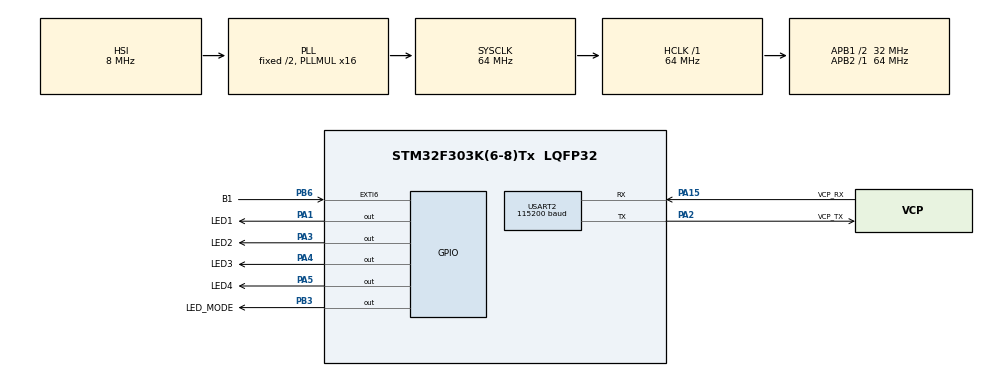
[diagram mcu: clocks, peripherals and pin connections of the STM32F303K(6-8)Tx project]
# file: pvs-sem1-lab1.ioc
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FREERTOS.Tasks01=blinkLEDsTask,0,128,StartBlinkLEDsTask,Default,NULL,Dynamic,NULL,NULL;uartCommandTask,0,128,StartUARTCommandTask,Default,NULL,Dynamic,NULL,NULL
Mcu.Family=STM32F3
Mcu.Name=STM32F303K(6-8)Tx
Mcu.Package=LQFP32
NVIC.EXTI9_5_IRQn=true\:5\:0\:false\:false\:true\:true\:true\:true\:true
NVIC.PriorityGroup=NVIC_PRIORITYGROUP_4
NVIC.TIM1_TRG_COM_TIM17_IRQn=true\:15\:0\:false\:false\:true\:false\:false\:true\:true
NVIC.TimeBase=TIM1_TRG_COM_TIM17_IRQn
NVIC.TimeBaseIP=TIM17
NVIC.USART2_IRQn=true\:5\:0\:false\:false\:true\:true\:true\:true\:true
PA1.GPIO_Label=LED1
PA1.Signal=GPIO_Output
PA13.GPIO_Label=SWDIO
PA13.Mode=Serial_Wire
PA13.Signal=SYS_JTMS-SWDIO
PA14.GPIO_Label=SWCLK
PA14.Mode=Serial_Wire
PA14.Signal=SYS_JTCK-SWCLK
PA15.GPIO_Label=VCP_RX
PA15.Mode=Asynchronous
PA15.Signal=USART2_RX
PA2.GPIO_Label=VCP_TX
PA2.Mode=Asynchronous
PA2.Signal=USART2_TX
PA3.GPIO_Label=LED2
PA3.Signal=GPIO_Output
PA4.GPIO_Label=LED3
PA4.Signal=GPIO_Output
PA5.GPIO_Label=LED4
PA5.Signal=GPIO_Output
PB3.GPIO_Label=LED_MODE
PB3.Signal=GPIO_Output
PB6.GPIO_Label=B1
PB6.Signal=GPXTI6
PF0\ /\ OSC_IN.GPIO_Label=MCO
PF0\ /\ OSC_IN.Mode=HSE-External-Clock-Source
PF0\ /\ OSC_IN.Signal=RCC_OSC_IN
ProjectManager.HeapSize=0x200
ProjectManager.StackSize=0x400
ProjectManager.TargetToolchain=STM32CubeIDE
RCC.AHBFreq_Value=64000000
RCC.APB1CLKDivider=RCC_HCLK_DIV2
RCC.APB1Freq_Value=32000000
RCC.APB1TimFreq_Value=64000000
RCC.APB2Freq_Value=64000000
RCC.APB2TimFreq_Value=64000000
RCC.CortexFreq_Value=64000000
RCC.HCLKFreq_Value=64000000
RCC.HSE_VALUE=8000000
RCC.HSI_VALUE=8000000
RCC.PLLMUL=RCC_PLL_MUL16
RCC.SYSCLKFreq_VALUE=64000000
RCC.SYSCLKSourceVirtual=RCC_SYSCLKSOURCE_PLLCLK
USART2.BaudRate=115200
USART2.VirtualMode-Asynchronous=VM_ASYNC
VP_FREERTOS_VS_CMSIS_V1.Mode=CMSIS_V1
VP_SYS_VS_tim17.Mode=TIM17
board=NUCLEO-F303K8

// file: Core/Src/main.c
/* USER CODE BEGIN Header */
/**
 ******************************************************************************
 * @file           : main.c
 * @brief          : Main program body
 ******************************************************************************
 * @attention
 *
 * Copyright (c) 2024 STMicroelectronics.
 * All rights reserved.
 *
 * This software is licensed under terms that can be found in the LICENSE file
 * in the root directory of this software component.
 * If no LICENSE file comes with this software, it is provided AS-IS.
 *
 ******************************************************************************
 */
/* USER CODE END Header */
#include "main.h"
#include "cmsis_os.h"

UART_HandleTypeDef huart2;

osThreadId blinkLEDsTaskHandle;
osThreadId uartCommandTaskHandle;
/* USER CODE BEGIN PV */
#define NUM_LEDS 4                		// Number of LEDs
#define FULL_PERIOD 1000          		// Full period in milliseconds (1 second)
#define TIMER_PERIOD 250          		// Timer period (250 ms)
#define HALF_PERIOD (FULL_PERIOD / 2) 	// Half cycle (500 ms)

#define MIN_FREQUENCY 0.1				// Min frequency (0.1 Hz)
#define MAX_FREQUENCY 9.9         		// Max frequency (9.9 Hz)
#define RX_BUFFER_SIZE 16         		// UART receive buffer size

uint8_t led_states[NUM_LEDS];			// Array for storing LED states
uint16_t led_counter = 0;     			// LED cycling counter
uint16_t phase_shift = HALF_PERIOD;		// Initial phase shift (180 degrees)

float frequency = 1.0;      			// Starting frequency (1 Hz)

uint8_t rx_buffer[RX_BUFFER_SIZE];
uint8_t command_received = 0;
uint8_t rx_index = 0;
volatile uint8_t btn_pressed_flag = 0;
/* USER CODE END PV */

void SystemClock_Config(void);
static void MX_GPIO_Init(void);
static void MX_USART2_UART_Init(void);
void StartBlinkLEDsTask(void const * argument);
void StartUARTCommandTask(void const * argument);

/* USER CODE BEGIN 0 */
void commandProcessing(void) {
	char command[RX_BUFFER_SIZE];
	strncpy(command, rx_buffer, RX_BUFFER_SIZE);
	command[RX_BUFFER_SIZE - 1] = 0;

	for (uint8_t i = 0; i < strlen(command); i++) {
		command[i] = tolower(command[i]);
	}

	if (rx_index != command_received) {
		double new_frequency;
		if (sscanf(command, "f=%lf", &new_frequency) == 1) {
			if (new_frequency >= MIN_FREQUENCY && new_frequency <= MAX_FREQUENCY) {
				frequency = new_frequency;
				char message[32];
				sprintf(message, "Frequency changed to %.1f Hz\r\n", frequency);
				HAL_UART_Transmit(&huart2, (uint8_t*) message, strlen(message),
						HAL_MAX_DELAY);
			} else {
				char error_message[] =
						"Error: Frequency must be in the range from 0.1 to 9.9 Hz\r\n";
				HAL_UART_Transmit(&huart2, (uint8_t*) error_message,
						strlen(error_message), HAL_MAX_DELAY);
			}
		} else {
			char error_message[] =
					"Error: Invalid command format. Use the format 'F=x.x'\r\n";
			HAL_UART_Transmit(&huart2, (uint8_t*) error_message,
					strlen(error_message), HAL_MAX_DELAY);
		}
	}

	rx_index = 0;
	command_received = 0;
}

void HAL_UART_RxCpltCallback(UART_HandleTypeDef *huart) {
	if (huart->Instance == USART2) {
		rx_buffer[rx_index++] = huart->Instance->RDR;

		if (rx_buffer[rx_index - 1] == '\n'
				|| rx_buffer[rx_index - 1] == '\r') {
			rx_buffer[rx_index - 1] = 0;
			command_received = 1;
			commandProcessing();
		} else if (rx_index == RX_BUFFER_SIZE - 1) {
			rx_index = 0;
		}

		HAL_UART_Receive_IT(&huart2, (uint8_t*) &rx_buffer[rx_index], 1);
	}
}

void HAL_GPIO_EXTI_Callback(uint16_t GPIO_Pin) {
	if (GPIO_Pin == B1_Pin) {
		HAL_GPIO_TogglePin(LED_MODE_GPIO_Port, LED_MODE_Pin);
		phase_shift =
				(phase_shift == HALF_PERIOD) ? HALF_PERIOD / 2 : HALF_PERIOD;
	}
}
/* USER CODE END 0 */

int main(void)
{

  /* MCU Configuration--------------------------------------------------------*/

  /* Reset of all peripherals, Initializes the Flash interface and the Systick. */
  HAL_Init();

  /* Configure the system clock */
  SystemClock_Config();

  /* Initialize all configured peripherals */
  MX_GPIO_Init();
  MX_USART2_UART_Init();

  /* Create the thread(s) */
  /* definition and creation of blinkLEDsTask */
  osThreadDef(blinkLEDsTask, StartBlinkLEDsTask, osPriorityNormal, 0, 128);
  blinkLEDsTaskHandle = osThreadCreate(osThread(blinkLEDsTask), NULL);

  /* definition and creation of uartCommandTask */
  osThreadDef(uartCommandTask, StartUARTCommandTask, osPriorityNormal, 0, 128);
  uartCommandTaskHandle = osThreadCreate(osThread(uartCommandTask), NULL);

  /* Start scheduler */
  osKernelStart();

  /* We should never get here as control is now taken by the scheduler */

  /* Infinite loop */
	while (1) {

	}
}

void SystemClock_Config(void)
{
  RCC_OscInitTypeDef RCC_OscInitStruct = {0};
  RCC_ClkInitTypeDef RCC_ClkInitStruct = {0};

  /** Initializes the RCC Oscillators according to the specified parameters
  * in the RCC_OscInitTypeDef structure.
  */
  RCC_OscInitStruct.OscillatorType = RCC_OSCILLATORTYPE_HSI;
  RCC_OscInitStruct.HSIState = RCC_HSI_ON;
  RCC_OscInitStruct.HSICalibrationValue = RCC_HSICALIBRATION_DEFAULT;
  RCC_OscInitStruct.PLL.PLLState = RCC_PLL_ON;
  RCC_OscInitStruct.PLL.PLLSource = RCC_PLLSOURCE_HSI;
  RCC_OscInitStruct.PLL.PLLMUL = RCC_PLL_MUL16;
  if (HAL_RCC_OscConfig(&RCC_OscInitStruct) != HAL_OK)
  {
    Error_Handler();
  }

  /** Initializes the CPU, AHB and APB buses clocks
  */
  RCC_ClkInitStruct.ClockType = RCC_CLOCKTYPE_HCLK|RCC_CLOCKTYPE_SYSCLK
                              |RCC_CLOCKTYPE_PCLK1|RCC_CLOCKTYPE_PCLK2;
  RCC_ClkInitStruct.SYSCLKSource = RCC_SYSCLKSOURCE_PLLCLK;
  RCC_ClkInitStruct.AHBCLKDivider = RCC_SYSCLK_DIV1;
  RCC_ClkInitStruct.APB1CLKDivider = RCC_HCLK_DIV2;
  RCC_ClkInitStruct.APB2CLKDivider = RCC_HCLK_DIV1;

  if (HAL_RCC_ClockConfig(&RCC_ClkInitStruct, FLASH_LATENCY_2) != HAL_OK)
  {
    Error_Handler();
  }
}

static void MX_USART2_UART_Init(void)
{

  huart2.Instance = USART2;
  huart2.Init.BaudRate = 115200;
  huart2.Init.WordLength = UART_WORDLENGTH_8B;
  huart2.Init.StopBits = UART_STOPBITS_1;
  huart2.Init.Parity = UART_PARITY_NONE;
  huart2.Init.Mode = UART_MODE_TX_RX;
  huart2.Init.HwFlowCtl = UART_HWCONTROL_NONE;
  huart2.Init.OverSampling = UART_OVERSAMPLING_16;
  huart2.Init.OneBitSampling = UART_ONE_BIT_SAMPLE_DISABLE;
  huart2.AdvancedInit.AdvFeatureInit = UART_ADVFEATURE_NO_INIT;
  if (HAL_UART_Init(&huart2) != HAL_OK)
  {
    Error_Handler();
  }

}

static void MX_GPIO_Init(void)
{
  GPIO_InitTypeDef GPIO_InitStruct = {0};

  /* GPIO Ports Clock Enable */
  __HAL_RCC_GPIOF_CLK_ENABLE();
  __HAL_RCC_GPIOA_CLK_ENABLE();
  __HAL_RCC_GPIOB_CLK_ENABLE();

  /*Configure GPIO pin Output Level */
  HAL_GPIO_WritePin(GPIOA, LED1_Pin|LED2_Pin|LED3_Pin|LED4_Pin, GPIO_PIN_RESET);

  /*Configure GPIO pin Output Level */
  HAL_GPIO_WritePin(LED_MODE_GPIO_Port, LED_MODE_Pin, GPIO_PIN_RESET);

  /*Configure GPIO pins : LED1_Pin LED2_Pin LED3_Pin LED4_Pin */
  GPIO_InitStruct.Pin = LED1_Pin|LED2_Pin|LED3_Pin|LED4_Pin;
  GPIO_InitStruct.Mode = GPIO_MODE_OUTPUT_PP;
  GPIO_InitStruct.Pull = GPIO_NOPULL;
  GPIO_InitStruct.Speed = GPIO_SPEED_FREQ_LOW;
  HAL_GPIO_Init(GPIOA, &GPIO_InitStruct);

  /*Configure GPIO pin : LED_MODE_Pin */
  GPIO_InitStruct.Pin = LED_MODE_Pin;
  GPIO_InitStruct.Mode = GPIO_MODE_OUTPUT_PP;
  GPIO_InitStruct.Pull = GPIO_NOPULL;
  GPIO_InitStruct.Speed = GPIO_SPEED_FREQ_LOW;
  HAL_GPIO_Init(LED_MODE_GPIO_Port, &GPIO_InitStruct);

  /*Configure GPIO pin : B1_Pin */
  GPIO_InitStruct.Pin = B1_Pin;
  GPIO_InitStruct.Mode = GPIO_MODE_IT_RISING;
  GPIO_InitStruct.Pull = GPIO_NOPULL;
  HAL_GPIO_Init(B1_GPIO_Port, &GPIO_InitStruct);

  /* EXTI interrupt init*/
  HAL_NVIC_SetPriority(EXTI9_5_IRQn, 5, 0);
  HAL_NVIC_EnableIRQ(EXTI9_5_IRQn);

}

void StartBlinkLEDsTask(void const * argument)
{
  /* USER CODE BEGIN 5 */
	/* Infinite loop */
	for (;;) {
		for (int i = 0; i < NUM_LEDS; i++) {
			uint16_t offset = i * phase_shift;
			uint16_t phase = (led_counter + offset) % FULL_PERIOD;

			if (phase < HALF_PERIOD) {
				led_states[i] = 1;
			} else {
				led_states[i] = 0;
			}
		}

		led_counter += TIMER_PERIOD;
		if (led_counter >= FULL_PERIOD) {
			led_counter = 0;
		}

		HAL_GPIO_WritePin(LED1_GPIO_Port, LED1_Pin, led_states[0] ? GPIO_PIN_SET : GPIO_PIN_RESET);
		HAL_GPIO_WritePin(LED2_GPIO_Port, LED2_Pin, led_states[1] ? GPIO_PIN_SET : GPIO_PIN_RESET);
		HAL_GPIO_WritePin(LED3_GPIO_Port, LED3_Pin, led_states[2] ? GPIO_PIN_SET : GPIO_PIN_RESET);
		HAL_GPIO_WritePin(LED4_GPIO_Port, LED4_Pin, led_states[3] ? GPIO_PIN_SET : GPIO_PIN_RESET);

		float period = (1 / frequency);
		uint16_t timer_period = (uint16_t) (period * 1000);
		osDelay((uint32_t) (timer_period / 4));
	}
  /* USER CODE END 5 */
}

void StartUARTCommandTask(void const * argument)
{
  /* USER CODE BEGIN StartUARTCommandTask */
	HAL_UART_Receive_IT(&huart2, (uint8_t*) rx_buffer, 1);
	/* Infinite loop */
	for (;;) {
		osDelay(1);
	}
  /* USER CODE END StartUARTCommandTask */
}

void HAL_TIM_PeriodElapsedCallback(TIM_HandleTypeDef *htim)
{
  if (htim->Instance == TIM17) {
    HAL_IncTick();
  }
}

void Error_Handler(void)
{
	__disable_irq();
	while (1) {
	}
}
